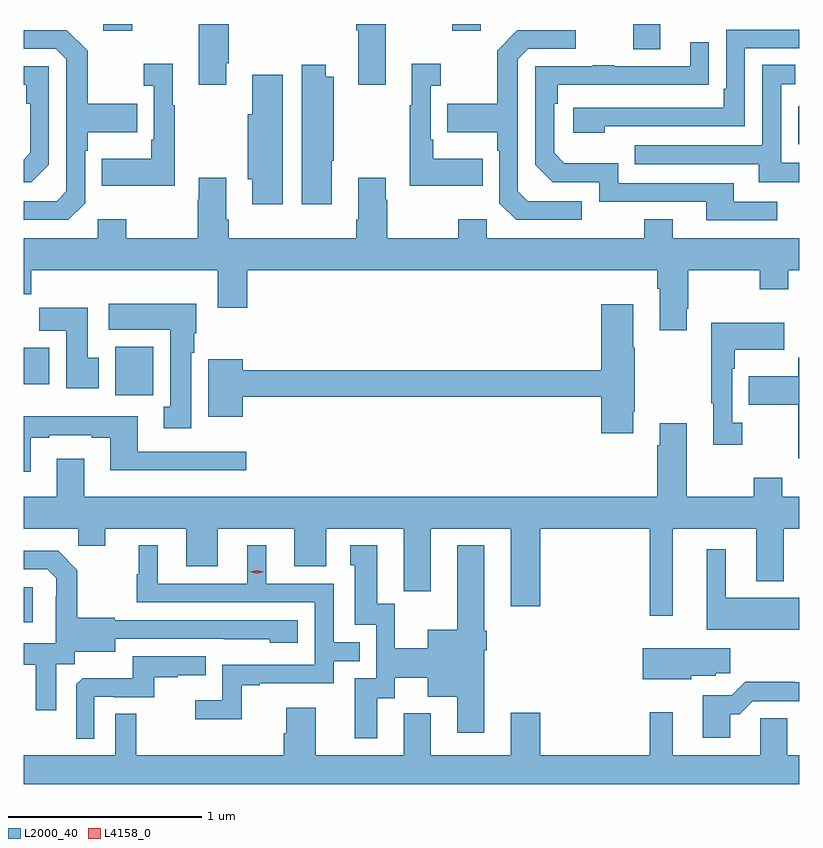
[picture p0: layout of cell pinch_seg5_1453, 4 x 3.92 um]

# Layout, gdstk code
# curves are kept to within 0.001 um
import gdstk
lib = gdstk.Library(unit=1e-6, precision=1e-09)
def R(c, l, rs):  # rectangles x0, y0, x1, y1
    for r in rs: c.add(gdstk.rectangle(r[:2], r[2:], *l))
def P(c, l, *ps):  # polygons
    for p in ps: c.add(gdstk.Polygon(p, *l))
L2000_40 = (2000, 40)
L4158_0 = (4158, 0)

pinch_seg5_1453 = lib.new_cell('pinch_seg5_1453')
R(pinch_seg5_1453, L2000_40, [(189.901,833.634,189.949,833.814), (190.373,834.804,190.569,835.054), (189.901,834.86,190.033,835.048), (193.043,836.586,193.183,836.717), (190.313,836.681,190.461,836.717), (192.112,836.681,192.259,836.717)])
P(pinch_seg5_1453, L2000_40, [(190.945,836.515),(190.958,836.515),(190.958,836.717),(190.805,836.717),(190.805,836.403),(190.945,836.403)],
  [(191.767,836.717),(191.615,836.717),(191.615,836.684),(191.627,836.684),(191.627,836.403),(191.767,836.403)],
  [(192.896,836.19),(193.62,836.19),(193.62,836.592),(193.901,836.592),(193.901,836.688),(193.524,836.688),(193.524,836.383),(193.511,836.383),(193.511,836.286),(192.735,836.286),(192.735,836.156),(192.896,836.156)],
  [(190.218,835.794),(190.218,836.063),(190.231,836.063),(190.231,836.159),(190.487,836.159),(190.487,836.307),(190.231,836.307),(190.231,836.579),(190.125,836.685),(189.901,836.685),(189.901,836.589),(190.068,836.589),(190.122,836.535),(190.122,835.854),(190.071,835.803),(189.901,835.803),(189.901,835.707),(190.131,835.707)],
  [(192.778,835.803),(192.501,835.803),(192.45,835.854),(192.45,836.535),(192.504,836.589),(192.748,836.589),(192.748,836.685),(192.447,836.685),(192.342,836.579),(192.342,836.307),(192.085,836.307),(192.085,836.159),(192.342,836.159),(192.342,836.063),(192.354,836.063),(192.354,835.794),(192.441,835.707),(192.778,835.707)],
  [(193.786,835.8),(193.561,835.8),(193.561,835.896),(192.966,835.896),(192.966,835.999),(192.689,835.999),(192.636,836.052),(192.636,836.306),(192.656,836.306),(192.656,836.403),(193.433,836.404),(193.433,836.623),(193.337,836.623),(193.337,836.499),(192.947,836.499),(192.947,836.504),(192.835,836.504),(192.835,836.499),(192.54,836.499),(192.54,835.992),(192.63,835.902),(192.87,835.902),(192.87,835.8),(193.421,835.8),(193.421,835.704),(193.786,835.704)],
  [(192.269,836.023),(192.013,836.023),(192.013,836.119),(192,836.119),(192,836.399),(192.052,836.399),(192.052,836.512),(191.903,836.512),(191.903,836.299),(191.892,836.299),(191.892,835.883),(192.269,835.883)],
  [(190.681,836.299),(190.669,836.299),(190.669,836.512),(190.521,836.512),(190.521,836.399),(190.572,836.399),(190.572,836.119),(190.56,836.119),(190.56,836.023),(190.303,836.023),(190.303,835.883),(190.681,835.883)],
  [(193.901,836.001),(193.806,836.001),(193.806,836.406),(193.879,836.406),(193.879,836.507),(193.71,836.507),(193.71,836.091),(193.051,836.091),(193.051,835.995),(193.691,835.995),(193.691,835.901),(193.901,835.901)],
  [(191.491,836.011),(191.499,836.011),(191.499,836.446),(191.458,836.446),(191.458,836.506),(191.336,836.506),(191.336,835.788),(191.491,835.788)],
  [(190.032,835.992),(190.032,836.499),(189.901,836.499),(189.901,836.403),(189.916,836.403),(189.916,836.306),(189.936,836.306),(189.936,836.052),(189.901,836.017),(189.901,835.902),(189.942,835.902)],
  [(191.236,836.455),(191.081,836.455),(191.081,836.253),(191.057,836.253),(191.057,835.917),(191.081,835.917),(191.081,835.788),(191.236,835.788)],
  [(193.901,836.295),(193.896,836.29),(193.896,836.097),(193.901,836.097)],
  [(193.321,835.249),(193.329,835.249),(193.329,835.448),(193.696,835.448),(193.696,835.349),(193.842,835.349),(193.842,835.448),(193.901,835.448),(193.901,835.612),(193.249,835.612),(193.249,835.711),(193.102,835.711),(193.102,835.612),(192.288,835.612),(192.288,835.711),(192.142,835.711),(192.142,835.612),(191.775,835.612),(191.775,835.811),(191.767,835.811),(191.767,835.924),(191.627,835.924),(191.627,835.708),(191.615,835.708),(191.615,835.612),(190.958,835.612),(190.958,835.708),(190.945,835.708),(190.945,835.924),(190.805,835.924),(190.805,835.811),(190.798,835.811),(190.798,835.612),(190.431,835.612),(190.431,835.711),(190.284,835.711),(190.284,835.612),(189.901,835.612),(189.901,835.324),(189.941,835.324),(189.941,835.448),(190.901,835.448),(190.901,835.254),(191.054,835.254),(191.054,835.448),(193.169,835.448),(193.169,835.352),(193.181,835.352),(193.181,835.137),(193.321,835.137)],
  [(190.765,835.022),(190.78,835.022),(190.78,835.122),(190.792,835.122),(190.792,835.276),(190.341,835.276),(190.341,835.142),(190.658,835.142),(190.658,834.745),(190.625,834.745),(190.625,834.633),(190.765,834.633)],
  [(193.045,834.718),(193.053,834.718),(193.053,835.049),(193.045,835.049),(193.045,835.273),(192.878,835.273),(192.878,834.932),(191.032,834.932),(191.032,834.988),(190.853,834.988),(190.853,834.692),(191.032,834.692),(191.032,834.796),(192.878,834.796),(192.878,834.606),(193.045,834.606)],
  [(190.288,834.996),(190.231,834.996),(190.231,835.255),(189.982,835.255),(189.982,835.136),(190.121,835.136),(190.121,834.84),(190.288,834.84)],
  [(193.606,834.662),(193.554,834.662),(193.554,834.941),(193.567,834.941),(193.567,835.037),(193.823,835.037),(193.823,835.177),(193.446,835.177),(193.446,834.761),(193.457,834.761),(193.457,834.549),(193.606,834.549)],
  [(193.901,834.997),(193.896,834.997),(193.896,834.901),(193.639,834.901),(193.639,834.754),(193.896,834.754),(193.896,834.481),(193.901,834.476)],
  [(189.937,834.585),(190.033,834.585),(190.033,834.597),(190.253,834.597),(190.253,834.585),(190.349,834.585),(190.349,834.416),(191.05,834.416),(191.05,834.513),(190.489,834.513),(190.489,834.694),(189.901,834.694),(189.901,834.408),(189.937,834.408)],
  [(193.249,834.116),(193.679,834.116),(193.679,833.843),(193.819,833.843),(193.819,834.116),(193.901,834.116),(193.901,834.28),(193.813,834.28),(193.813,834.379),(193.666,834.379),(193.666,834.28),(193.321,834.28),(193.321,834.658),(193.181,834.658),(193.181,834.545),(193.169,834.545),(193.169,834.28),(190.213,834.28),(190.213,834.475),(190.073,834.475),(190.073,834.28),(189.901,834.28),(189.901,834.116),(190.183,834.116),(190.183,834.026),(190.321,834.026),(190.321,834.116),(190.739,834.116),(190.739,833.922),(190.903,833.922),(190.903,834.116),(191.297,834.116),(191.297,833.922),(191.461,833.922),(191.461,834.116),(191.861,834.116),(191.861,833.905),(191.862,833.905),(191.862,833.793),(192.001,833.793),(192.001,834.116),(192.413,834.116),(192.413,833.715),(192.566,833.715),(192.566,834.116),(193.128,834.116),(193.128,833.667),(193.249,833.667)],
  [(191.725,833.242),(191.815,833.242),(191.815,833.348),(191.984,833.348),(191.984,833.249),(192.137,833.249),(192.137,833.064),(192.277,833.064),(192.277,833.489),(192.29,833.489),(192.29,833.589),(192.277,833.589),(192.277,834.031),(192.137,834.031),(192.137,833.593),(191.984,833.593),(191.984,833.5),(191.814,833.5),(191.814,833.727),(191.725,833.727),(191.725,834.031),(191.585,834.031),(191.585,833.928),(191.609,833.928),(191.609,833.619),(191.718,833.619),(191.718,833.343),(191.609,833.343),(191.609,833.034),(191.725,833.034)],
  [(191.025,833.307),(191.119,833.307),(191.119,833.319),(191.499,833.319),(191.499,833.433),(191.633,833.433),(191.633,833.529),(191.499,833.529),(191.499,833.832),(191.152,833.832),(191.152,834.031),(191.054,834.031),(191.054,833.832),(190.594,833.832),(190.594,834.031),(190.496,834.031),(190.496,833.88),(190.485,833.88),(190.485,833.736),(191.403,833.736),(191.403,833.415),(190.926,833.415),(190.926,833.23),(190.785,833.23),(190.785,833.132),(191.025,833.132)],
  [(193.901,833.758),(193.522,833.758),(193.522,834.01),(193.424,834.01),(193.424,833.594),(193.901,833.594)],
  [(190.069,833.416),(190.164,833.416),(190.164,833.48),(190.375,833.48),(190.375,833.547),(191.169,833.546),(191.169,833.528),(191.314,833.528),(191.314,833.643),(190.371,833.643),(190.371,833.656),(190.179,833.656),(190.179,833.901),(190.079,834.001),(189.901,834.001),(189.901,833.907),(190.023,833.907),(190.07,833.86),(190.07,833.765),(190.068,833.765),(190.068,833.524),(189.901,833.524),(189.901,833.414),(189.965,833.414),(189.965,833.178),(190.069,833.178)],
  [(193.344,833.357),(193.47,833.357),(193.47,833.371),(193.543,833.371),(193.543,833.5),(193.094,833.5),(193.094,833.339),(193.344,833.339)],
  [(190.266,833.25),(190.366,833.25),(190.366,833.247),(190.574,833.247),(190.574,833.349),(190.697,833.349),(190.697,833.36),(190.841,833.36),(190.841,833.457),(190.464,833.457),(190.464,833.345),(190.205,833.345),(190.173,833.313),(190.173,833.033),(190.266,833.033)],
  [(193.543,833.159),(193.592,833.159),(193.659,833.226),(193.901,833.226),(193.901,833.324),(193.877,833.324),(193.877,833.327),(193.622,833.327),(193.551,833.256),(193.403,833.256),(193.403,833.037),(193.543,833.037)],
  [(193.901,832.948),(193.837,832.948),(193.837,833.138),(193.698,833.138),(193.698,832.948),(193.249,832.948),(193.249,833.17),(193.128,833.17),(193.128,832.948),(192.566,832.948),(192.566,833.167),(192.413,833.167),(192.413,832.948),(192.001,832.948),(192.001,833.164),(191.861,833.164),(191.861,832.948),(191.407,832.948),(191.407,833.191),(191.255,833.191),(191.255,833.061),(191.243,833.061),(191.243,832.948),(190.483,832.948),(190.483,833.162),(190.374,833.162),(190.374,832.948),(189.901,832.948),(189.901,832.799),(193.901,832.799)])
P(pinch_seg5_1453, L4158_0, [(191.103,833.882),(191.067,833.892),(191.067,833.892),(191.067,833.892),(191.103,833.902),(191.139,833.892),(191.139,833.892),(191.139,833.892)])

lib.write_gds('pinch_seg5_1453.gds')
